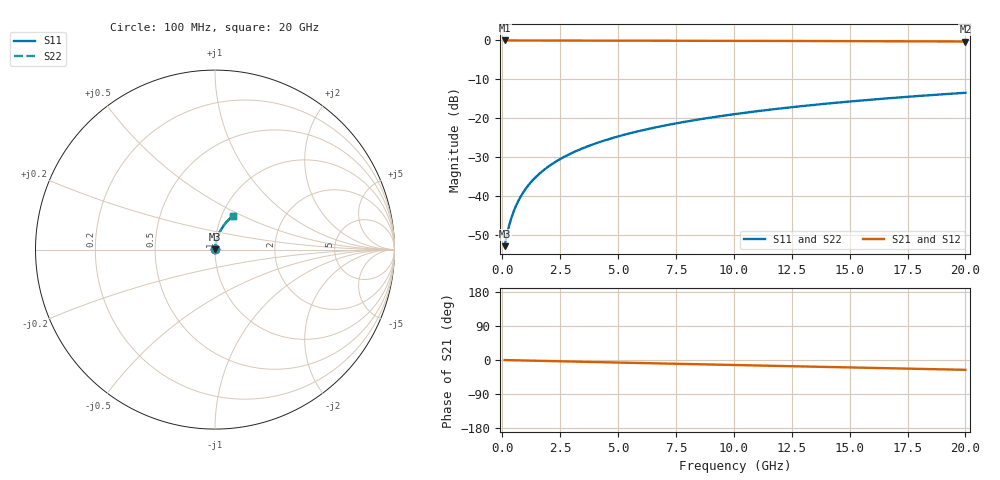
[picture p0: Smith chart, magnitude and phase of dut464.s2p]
! Touchstone file exported from HFSS 2026.1.0
!  File:  C:/ffzhzh/LocalFiles/Ansys_Project_Files/temp_train_BSMRDL_464_1783013542_55676.aedt
!  Generated:  01:33:39 AM Jul  3, 2026
!  Design:  BSMRDL
!  Project:  temp_train_BSMRDL_464_1783013542_55676
! Variables:
!  h_bsmrdl = 4.94um
!  h_ox = 20um
!  h_rdl = 5um
!  h_sub = 80um
!  h_tmrdl = 5um
!  h_tsv = 80um
!  h_via = 3um
!  l_bsmrdl = 393.23um
!  l_sub = 793.23um
!  l_tmrdl = 200um
!  m_sub = 200um
!  pitch = 32.97um
!  r_tsv = 6um
!  s_tmrdl = 10um
!  w_bsmrdl = 16.14um
!  w_sub = 500um
!  w_tmrdl = 12um
!  x_tsv_center1 = 206um
!  x_tsv_center2 = 615.37um
!  x_tsv_center3 = 827.37um
!  x_tsv_center4 = 1236.74um
!  x_tsv_center5 = 1448.74um
!  x_tsv_center6 = 1858.11um
# GHz S MA R 50.000000
! Terminal data exported
! Port[1] = BSM_RDL1_1_T1
! Port[2] = BSM_RDL1_1_T2
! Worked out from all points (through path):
!   200 points, 100 MHz to 20 GHz, reference 50 ohm
!   highest |S21| = -0.02 dB at 100 MHz (marker M1); lowest = -0.3 dB at 20 GHz (marker M2)
!   group delay of S21, straight-line fit = 3.59 ps
!   lowest |S11| = -52.7 dB at 100 MHz (marker M3), VSWR 1.00, Z = 50.2 + j0.134 ohm
!   |S11| at or under -10 dB: start of sweep to end of sweep
!   |S22| runs from -52.7 to -13.4 dB; largest |S21 - S12| = 4e-15
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0.1  0.002307 35.4  0.9981 -0.1  0.9981 -0.1  0.002307 35.4
! Gamma 0 0 0 0
! Port Impedance 50 0 50 0
0.2  0.003251 52.3  0.998 -0.3  0.998 -0.3  0.003251 52.3
0.3  0.004299 61.3  0.9979 -0.4  0.9979 -0.4  0.004299 61.3
0.4  0.0054 66.8  0.9979 -0.6  0.9979 -0.6  0.005399 66.8
0.5  0.006533 70.5  0.9978 -0.7  0.9978 -0.7  0.006533 70.5
0.6  0.007688 73.0  0.9977 -0.8  0.9977 -0.8  0.007688 73.0
0.8  0.01003 76.3  0.9976 -1.1  0.9976 -1.1  0.01003 76.3
1.1  0.0136 78.8  0.9975 -1.5  0.9975 -1.5  0.0136 78.8
1.5  0.01836 80.3  0.9973 -2.1  0.9973 -2.1  0.01836 80.3
1.8  0.02192 80.7  0.9971 -2.5  0.9971 -2.5  0.02192 80.7
2.1  0.02546 80.9  0.9969 -2.9  0.9969 -2.9  0.02547 80.9
2.7  0.0325 80.9  0.9964 -3.7  0.9964 -3.7  0.0325 80.9
3.5  0.04176 80.4  0.9956 -4.7  0.9956 -4.7  0.04176 80.4
4.2  0.04975 79.8  0.9948 -5.7  0.9948 -5.7  0.04975 79.8
5  0.05877 79.0  0.9939 -6.7  0.9939 -6.7  0.05877 79.0
5.9  0.0688 78.0  0.9927 -7.9  0.9927 -7.9  0.0688 78.0
6.8  0.07872 77.0  0.9916 -9.1  0.9916 -9.1  0.07872 77.0
8.3  0.09502 75.3  0.9895 -11.0  0.9895 -11.0  0.09502 75.3
10.1  0.1142 73.3  0.9868 -13.4  0.9868 -13.4  0.1142 73.3
13.4  0.1485 69.4  0.9812 -17.6  0.9812 -17.6  0.1485 69.4
16.7  0.1815 65.6  0.9749 -21.8  0.9749 -21.8  0.1816 65.6
20  0.2131 61.7  0.9679 -25.9  0.9679 -25.9  0.2131 61.7
